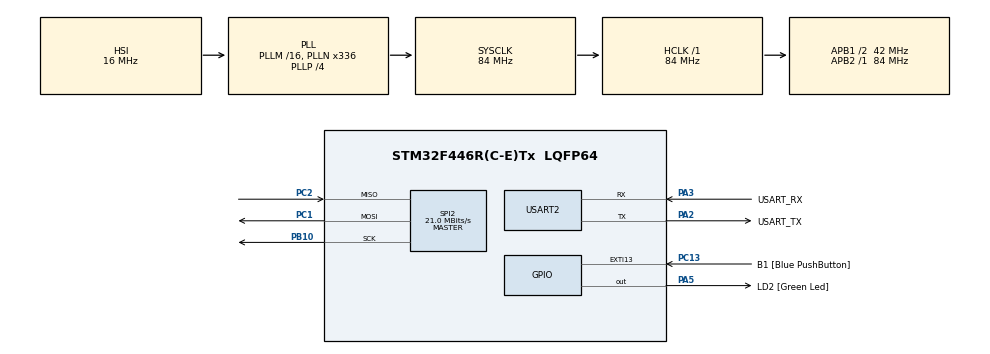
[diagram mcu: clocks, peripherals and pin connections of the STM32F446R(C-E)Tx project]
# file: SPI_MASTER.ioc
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Mcu.Family=STM32F4
Mcu.Name=STM32F446R(C-E)Tx
Mcu.Package=LQFP64
NVIC.EXTI15_10_IRQn=true\:0\:0\:false\:false\:true\:true\:true
NVIC.PriorityGroup=NVIC_PRIORITYGROUP_0
NVIC.SPI2_IRQn=true\:0\:0\:false\:false\:true\:true\:true
PA13.GPIO_Label=TMS
PA13.Mode=Serial_Wire
PA13.Signal=SYS_JTMS-SWDIO
PA14.GPIO_Label=TCK
PA14.Mode=Serial_Wire
PA14.Signal=SYS_JTCK-SWCLK
PA2.GPIO_Label=USART_TX
PA2.Mode=Asynchronous
PA2.Signal=USART2_TX
PA3.GPIO_Label=USART_RX
PA3.Mode=Asynchronous
PA3.Signal=USART2_RX
PA5.GPIO_Label=LD2 [Green Led]
PA5.Signal=GPIO_Output
PB10.Mode=Full_Duplex_Master
PB10.Signal=SPI2_SCK
PB3.GPIO_Label=SWO
PB3.Signal=SYS_JTDO-SWO
PC1.Mode=Full_Duplex_Master
PC1.Signal=SPI2_MOSI
PC13.GPIO_Label=B1 [Blue PushButton]
PC13.GPIO_ModeDefaultEXTI=GPIO_MODE_IT_FALLING
PC13.Signal=GPXTI13
PC14-OSC32_IN.Mode=LSE-External-Oscillator
PC14-OSC32_IN.Signal=RCC_OSC32_IN
PC15-OSC32_OUT.Mode=LSE-External-Oscillator
PC15-OSC32_OUT.Signal=RCC_OSC32_OUT
PC2.Mode=Full_Duplex_Master
PC2.Signal=SPI2_MISO
PH0-OSC_IN.Mode=HSE-External-Oscillator
PH0-OSC_IN.Signal=RCC_OSC_IN
PH1-OSC_OUT.Mode=HSE-External-Oscillator
PH1-OSC_OUT.Signal=RCC_OSC_OUT
ProjectManager.HeapSize=0x200
ProjectManager.StackSize=0x400
ProjectManager.TargetToolchain=MDK-ARM V5
RCC.48MHZClocksFreq_Value=84000000
RCC.AHBFreq_Value=84000000
RCC.APB1CLKDivider=RCC_HCLK_DIV2
RCC.APB1Freq_Value=42000000
RCC.APB1TimFreq_Value=84000000
RCC.APB2Freq_Value=84000000
RCC.APB2TimFreq_Value=84000000
RCC.CortexFreq_Value=84000000
RCC.FLatency-AdvancedSettings=FLASH_LATENCY_2
RCC.HCLKFreq_Value=84000000
RCC.HSE_VALUE=8000000
RCC.HSI_VALUE=16000000
RCC.PLLN=336
RCC.PLLP=RCC_PLLP_DIV4
RCC.SYSCLKFreq_VALUE=84000000
RCC.SYSCLKSource=RCC_SYSCLKSOURCE_PLLCLK
RCC.USBFreq_Value=168000000
RCC.VCOOutputFreq_Value=336000000
SPI2.CalculateBaudRate=21.0 MBits/s
SPI2.Direction=SPI_DIRECTION_2LINES
SPI2.Mode=SPI_MODE_MASTER
SPI2.VirtualType=VM_MASTER
USART2.VirtualMode=VM_ASYNC
board=NUCLEO-F446RE

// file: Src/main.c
/* USER CODE BEGIN Header */
/**
  ******************************************************************************
  * @file           : main.c
  * @brief          : Main program body
  ******************************************************************************
  * @attention
  *
  * <h2><center>&copy; Copyright (c) 2020 STMicroelectronics.
  * All rights reserved.</center></h2>
  *
  * This software component is licensed by ST under BSD 3-Clause license,
  * the "License"; You may not use this file except in compliance with the
  * License. You may obtain a copy of the License at:
  *                        opensource.org/licenses/BSD-3-Clause
  *
  ******************************************************************************
  */
/* USER CODE END Header */

#include "main.h"

/* USER CODE BEGIN Includes */
#include <string.h>
/* USER CODE END Includes */

SPI_HandleTypeDef hspi2;

UART_HandleTypeDef huart2;

void SystemClock_Config(void);
static void MX_GPIO_Init(void);
static void MX_SPI2_Init(void);
static void MX_USART2_UART_Init(void);

/* USER CODE BEGIN 0 */
 uint8_t wait_for_user_button_press=0;

 uint16_t WRITE_CMD  =  0xAAB1;
 uint16_t READ_CMD   =  0xAAB2;
 uint8_t  MASTER_WRITE_CMD[2];
 uint8_t  MASTER_READ_CMD[2];
 uint8_t ACK_BYTE[2];

 uint8_t master_send_data[4]={0xA1,0xA2,0xA3,0xA4};
 uint8_t master_read_data[4];
 uint8_t expected_read_data[4]={0xB1,0xB2,0XB3,0xB4};

 uint8_t Buffer_cmp (uint8_t *pData,uint8_t *pRcv_Data,uint8_t Len)
 {
	 uint8_t count=0;
	 for(uint32_t i=0;i<Len;i++)
	 {
		 if(pData[i]==pRcv_Data[i])
		 {
			 count++;
		 }
	 }
	 if(count==4)
		 return 1;
	 else
		 return 0;
 }
/* USER CODE END 0 */

int main(void)
{

  /* MCU Configuration--------------------------------------------------------*/

  /* Reset of all peripherals, Initializes the Flash interface and the Systick. */
  HAL_Init();

  /* Configure the system clock */
  SystemClock_Config();

  /* Initialize all configured peripherals */
  MX_GPIO_Init();
  MX_SPI2_Init();
  MX_USART2_UART_Init();
  /* USER CODE BEGIN 2 */

	 while(wait_for_user_button_press!=1)
	 {
		 HAL_GPIO_TogglePin(GPIOA,GPIO_PIN_5);
		 HAL_Delay(100);

	 }
  /* USER CODE END 2 */

  /* Infinite loop */
  while (1)
  {

    /* USER CODE BEGIN 3 */
		while(hspi2.State!=HAL_SPI_STATE_READY);

		MASTER_WRITE_CMD[0] = (uint8_t)(WRITE_CMD & 0xFF); //lsb bit
		MASTER_WRITE_CMD[1] = (uint8_t)((WRITE_CMD>>8) & 0xFF);  //msb bit

		//send write command to slave
		 HAL_SPI_Transmit_IT(&hspi2,MASTER_WRITE_CMD,2);

		while(hspi2.State!=HAL_SPI_STATE_READY){}

	  HAL_Delay(100);

		HAL_SPI_Receive_IT(&hspi2,ACK_BYTE,2);

		while(hspi2.State!=HAL_SPI_STATE_READY){}

			if(ACK_BYTE[0]==0xD5 && ACK_BYTE[1]==0xE5)
			{
						 HAL_GPIO_WritePin(GPIOA,GPIO_PIN_10,1);
				     memset(&ACK_BYTE,0,2);
			}
			else
			{
				while(1)
				{
						 HAL_GPIO_TogglePin(GPIOA,GPIO_PIN_5);
		         HAL_Delay(2000);
					   memset(&ACK_BYTE,0,2);
				}

			}

			//Now send  the data stream
				  HAL_SPI_Transmit_IT(&hspi2,master_send_data,4);
					while(hspi2.State!=HAL_SPI_STATE_READY){}
		      HAL_Delay(100);

			//Now send read cmd
		MASTER_READ_CMD[0] = (uint8_t)(READ_CMD & 0xFF); //lsb bit
		MASTER_READ_CMD[1] = (uint8_t)((READ_CMD>>8) & 0xFF);  //msb bit

						//send write command to slave
		    HAL_SPI_Transmit_IT(&hspi2,MASTER_READ_CMD,2);
				while(hspi2.State!=HAL_SPI_STATE_READY){}
		      HAL_Delay(100);

					// want ack bytes for slave
					HAL_SPI_Receive_IT(&hspi2,ACK_BYTE,2);

		    while(hspi2.State!=HAL_SPI_STATE_READY){}

			if(ACK_BYTE[0]==0xE5 && ACK_BYTE[1]==0xD5)
			{
						 HAL_GPIO_WritePin(GPIOA,GPIO_PIN_10,1);

		         HAL_Delay(800);
				     memset(&ACK_BYTE,0,2);
			}
			else
			{
				while(1)
				{
						 HAL_GPIO_TogglePin(GPIOA,GPIO_PIN_10);
		         HAL_Delay(100);
					 memset(&ACK_BYTE,0,2);
				}

			}

    // Now start recived
				  HAL_SPI_Receive_IT(&hspi2,master_read_data,4);
					while(hspi2.State!=HAL_SPI_STATE_READY){}

//compare data
				if(Buffer_cmp(master_read_data,expected_read_data,4))
				{
					HAL_GPIO_TogglePin(GPIOA,GPIO_PIN_6);
				}
				else
				{
					HAL_GPIO_WritePin(GPIOA,GPIO_PIN_6,1);
				}

				HAL_Delay(100);

  }
  /* USER CODE END 3 */
}

void SystemClock_Config(void)
{
  RCC_OscInitTypeDef RCC_OscInitStruct = {0};
  RCC_ClkInitTypeDef RCC_ClkInitStruct = {0};

  /** Configure the main internal regulator output voltage
  */
  __HAL_RCC_PWR_CLK_ENABLE();
  __HAL_PWR_VOLTAGESCALING_CONFIG(PWR_REGULATOR_VOLTAGE_SCALE3);
  /** Initializes the CPU, AHB and APB busses clocks
  */
  RCC_OscInitStruct.OscillatorType = RCC_OSCILLATORTYPE_HSI;
  RCC_OscInitStruct.HSIState = RCC_HSI_ON;
  RCC_OscInitStruct.HSICalibrationValue = RCC_HSICALIBRATION_DEFAULT;
  RCC_OscInitStruct.PLL.PLLState = RCC_PLL_ON;
  RCC_OscInitStruct.PLL.PLLSource = RCC_PLLSOURCE_HSI;
  RCC_OscInitStruct.PLL.PLLM = 16;
  RCC_OscInitStruct.PLL.PLLN = 336;
  RCC_OscInitStruct.PLL.PLLP = RCC_PLLP_DIV4;
  RCC_OscInitStruct.PLL.PLLQ = 2;
  RCC_OscInitStruct.PLL.PLLR = 2;
  if (HAL_RCC_OscConfig(&RCC_OscInitStruct) != HAL_OK)
  {
    Error_Handler();
  }
  /** Initializes the CPU, AHB and APB busses clocks
  */
  RCC_ClkInitStruct.ClockType = RCC_CLOCKTYPE_HCLK|RCC_CLOCKTYPE_SYSCLK
                              |RCC_CLOCKTYPE_PCLK1|RCC_CLOCKTYPE_PCLK2;
  RCC_ClkInitStruct.SYSCLKSource = RCC_SYSCLKSOURCE_PLLCLK;
  RCC_ClkInitStruct.AHBCLKDivider = RCC_SYSCLK_DIV1;
  RCC_ClkInitStruct.APB1CLKDivider = RCC_HCLK_DIV2;
  RCC_ClkInitStruct.APB2CLKDivider = RCC_HCLK_DIV1;

  if (HAL_RCC_ClockConfig(&RCC_ClkInitStruct, FLASH_LATENCY_2) != HAL_OK)
  {
    Error_Handler();
  }
}

static void MX_SPI2_Init(void)
{

  /* SPI2 parameter configuration*/
  hspi2.Instance = SPI2;
  hspi2.Init.Mode = SPI_MODE_MASTER;
  hspi2.Init.Direction = SPI_DIRECTION_2LINES;
  hspi2.Init.DataSize = SPI_DATASIZE_8BIT;
  hspi2.Init.CLKPolarity = SPI_POLARITY_LOW;
  hspi2.Init.CLKPhase = SPI_PHASE_2EDGE;
  hspi2.Init.NSS = SPI_NSS_SOFT;
  hspi2.Init.BaudRatePrescaler = SPI_BAUDRATEPRESCALER_2;
  hspi2.Init.FirstBit = SPI_FIRSTBIT_MSB;
  hspi2.Init.TIMode = SPI_TIMODE_DISABLE;
  hspi2.Init.CRCCalculation = SPI_CRCCALCULATION_DISABLE;
  hspi2.Init.CRCPolynomial = 10;
  if (HAL_SPI_Init(&hspi2) != HAL_OK)
  {
    Error_Handler();
  }

}

static void MX_USART2_UART_Init(void)
{

  huart2.Instance = USART2;
  huart2.Init.BaudRate = 115200;
  huart2.Init.WordLength = UART_WORDLENGTH_8B;
  huart2.Init.StopBits = UART_STOPBITS_1;
  huart2.Init.Parity = UART_PARITY_NONE;
  huart2.Init.Mode = UART_MODE_TX_RX;
  huart2.Init.HwFlowCtl = UART_HWCONTROL_NONE;
  huart2.Init.OverSampling = UART_OVERSAMPLING_16;
  if (HAL_UART_Init(&huart2) != HAL_OK)
  {
    Error_Handler();
  }

}

static void MX_GPIO_Init(void)
{
  GPIO_InitTypeDef GPIO_InitStruct = {0};

  /* GPIO Ports Clock Enable */
  __HAL_RCC_GPIOC_CLK_ENABLE();
  __HAL_RCC_GPIOH_CLK_ENABLE();
  __HAL_RCC_GPIOA_CLK_ENABLE();
  __HAL_RCC_GPIOB_CLK_ENABLE();

  /*Configure GPIO pin Output Level */
  HAL_GPIO_WritePin(LD2_GPIO_Port, LD2_Pin|GPIO_PIN_10|GPIO_PIN_6, GPIO_PIN_RESET);

  /*Configure GPIO pin : B1_Pin */
  GPIO_InitStruct.Pin = B1_Pin;
  GPIO_InitStruct.Mode = GPIO_MODE_IT_FALLING;
  GPIO_InitStruct.Pull = GPIO_NOPULL;
  HAL_GPIO_Init(B1_GPIO_Port, &GPIO_InitStruct);

  /*Configure GPIO pin : LD2_Pin */
  GPIO_InitStruct.Pin = LD2_Pin|GPIO_PIN_10|GPIO_PIN_6;
  GPIO_InitStruct.Mode = GPIO_MODE_OUTPUT_PP;
  GPIO_InitStruct.Pull = GPIO_NOPULL;
  GPIO_InitStruct.Speed = GPIO_SPEED_FREQ_LOW;
  HAL_GPIO_Init(LD2_GPIO_Port, &GPIO_InitStruct);

  /* EXTI interrupt init*/
  HAL_NVIC_SetPriority(EXTI15_10_IRQn, 0, 0);
  HAL_NVIC_EnableIRQ(EXTI15_10_IRQn);

}

void Error_Handler(void)
{
}

/************************ (C) COPYRIGHT STMicroelectronics *****END OF FILE****/
